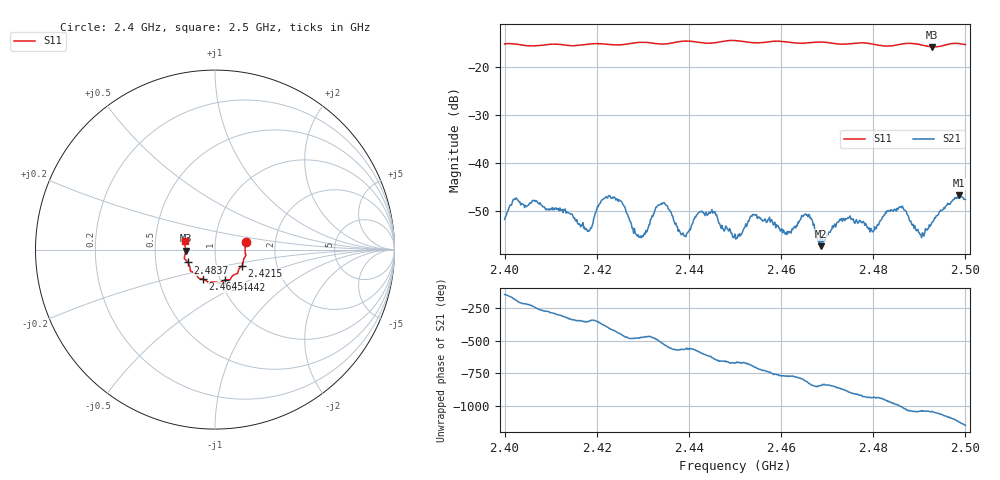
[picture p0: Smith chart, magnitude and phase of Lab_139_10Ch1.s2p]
# Hz S RI R 50
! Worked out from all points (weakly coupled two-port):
!   601 points, 2.4 GHz to 2.5 GHz, reference 50 ohm
!   highest |S21| = -46.76 dB at 2.4987 GHz (marker M1); lowest = -57.4 dB at 2.4687 GHz (marker M2)
!   lowest |S11| = -15.7 dB at 2.4928 GHz (marker M3), VSWR 1.39, Z = 36 - j0.377 ohm
!   |S11| at or under -10 dB: start of sweep to end of sweep
!   S12 and S22 are empty: the file has one direction only
!   S11 on the Smith chart (normalised r, x): 2.4 GHz: 1.41, +0.12; 2.4215 GHz: 1.33, -0.25; 2.4442 GHz: 1.05, -0.37; 2.4645 GHz: 0.83, -0.29; 2.4837 GHz: 0.73, -0.11; 2.5 GHz: 0.71, +0.07
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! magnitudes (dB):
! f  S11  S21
! 2.4 GHz  -15.1  -51.8
! 2.4065 GHz  -15.5  -47.9
! 2.4167 GHz  -15.3  -53.0
! 2.4185 GHz  -15.1  -54.0
! 2.4215 GHz  -15.1  -47.5
! 2.4253 GHz  -15.3  -48.0
! 2.4293 GHz  -14.8  -55.5
! 2.4333 GHz  -15.1  -48.8
! 2.4388 GHz  -14.5  -54.9
! 2.4442 GHz  -15.0  -50.7
! 2.45 GHz  -14.4  -54.8
! 2.4538 GHz  -14.8  -50.7
! 2.4612 GHz  -14.7  -54.4
! 2.4645 GHz  -15.0  -50.9
! 2.4667 GHz  -14.8  -51.8
! 2.4687 GHz  -14.7  -57.4
! 2.4833 GHz  -15.6  -49.9
! 2.4837 GHz  -15.5  -50.1
! 2.4905 GHz  -15.3  -55.6
! 2.4928 GHz  -15.7  -52.3
! 2.4987 GHz  -15.0  -46.8
! 2.5 GHz  -15.3  -47.6
